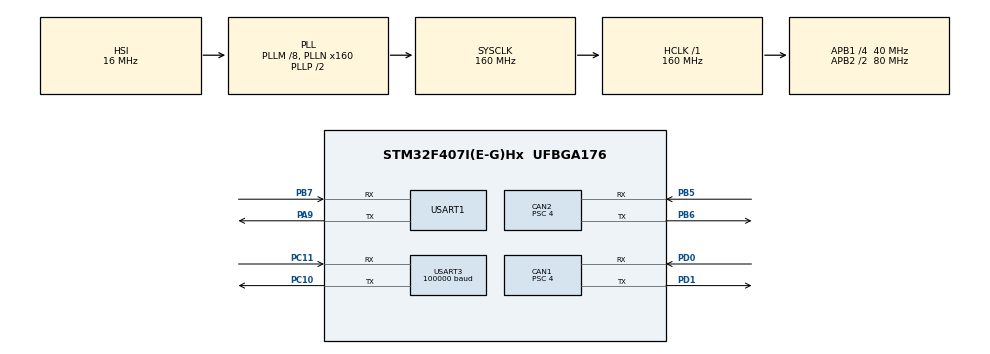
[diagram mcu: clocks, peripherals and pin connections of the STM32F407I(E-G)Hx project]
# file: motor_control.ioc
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CAN1.BS1=CAN_BS1_6TQ
CAN1.BS2=CAN_BS2_3TQ
CAN1.CalculateBaudRate=1000000
CAN1.CalculateTimeBit=1000
CAN1.CalculateTimeQuantum=100.0
CAN1.Prescaler=4
CAN2.BS1=CAN_BS1_6TQ
CAN2.BS2=CAN_BS2_3TQ
CAN2.CalculateBaudRate=1000000
CAN2.CalculateTimeBit=1000
CAN2.CalculateTimeQuantum=100.0
CAN2.Prescaler=4
Dma.Request0=USART1_TX
Dma.Request1=USART3_RX
Dma.USART1_TX.0.Direction=DMA_MEMORY_TO_PERIPH
Dma.USART1_TX.0.FIFOMode=DMA_FIFOMODE_DISABLE
Dma.USART1_TX.0.Instance=DMA2_Stream7
Dma.USART1_TX.0.MemDataAlignment=DMA_MDATAALIGN_BYTE
Dma.USART1_TX.0.MemInc=DMA_MINC_ENABLE
Dma.USART1_TX.0.Mode=DMA_NORMAL
Dma.USART1_TX.0.PeriphDataAlignment=DMA_PDATAALIGN_BYTE
Dma.USART1_TX.0.PeriphInc=DMA_PINC_DISABLE
Dma.USART1_TX.0.Priority=DMA_PRIORITY_VERY_HIGH
Dma.USART3_RX.1.Direction=DMA_PERIPH_TO_MEMORY
Dma.USART3_RX.1.FIFOMode=DMA_FIFOMODE_DISABLE
Dma.USART3_RX.1.Instance=DMA1_Stream1
Dma.USART3_RX.1.MemDataAlignment=DMA_MDATAALIGN_BYTE
Dma.USART3_RX.1.MemInc=DMA_MINC_ENABLE
Dma.USART3_RX.1.Mode=DMA_CIRCULAR
Dma.USART3_RX.1.PeriphDataAlignment=DMA_PDATAALIGN_BYTE
Dma.USART3_RX.1.PeriphInc=DMA_PINC_DISABLE
Dma.USART3_RX.1.Priority=DMA_PRIORITY_VERY_HIGH
FREERTOS.INCLUDE_vTaskDelayUntil=1
FREERTOS.Tasks01=defaultTask,0,128,StartDefaultTask,Default,NULL,Dynamic,NULL,NULL
Mcu.Family=STM32F4
Mcu.Name=STM32F407I(E-G)Hx
Mcu.Package=UFBGA176
NVIC.CAN1_RX0_IRQn=true\:5\:0\:false\:false\:true\:true\:true\:true\:true
NVIC.CAN1_RX1_IRQn=true\:5\:0\:false\:false\:true\:true\:true\:true\:true
NVIC.CAN2_RX0_IRQn=true\:5\:0\:false\:false\:true\:true\:true\:true\:true
NVIC.CAN2_RX1_IRQn=true\:5\:0\:false\:false\:true\:true\:true\:true\:true
NVIC.DMA1_Stream1_IRQn=true\:5\:0\:false\:false\:true\:true\:true\:true\:true
NVIC.DMA2_Stream7_IRQn=true\:5\:0\:false\:false\:true\:true\:true\:true\:true
NVIC.PriorityGroup=NVIC_PRIORITYGROUP_4
NVIC.TIM2_IRQn=true\:15\:0\:false\:false\:true\:false\:false\:true\:true
NVIC.TimeBase=TIM2_IRQn
NVIC.TimeBaseIP=TIM2
NVIC.USART1_IRQn=true\:5\:0\:false\:false\:true\:true\:true\:true\:true
NVIC.USART3_IRQn=true\:5\:0\:false\:false\:true\:true\:true\:true\:true
PA9.Mode=Asynchronous
PA9.Signal=USART1_TX
PB5.Mode=CAN_Activate
PB5.Signal=CAN2_RX
PB6.Mode=CAN_Activate
PB6.Signal=CAN2_TX
PB7.Mode=Asynchronous
PB7.Signal=USART1_RX
PC10.Mode=Asynchronous
PC10.Signal=USART3_TX
PC11.Mode=Asynchronous
PC11.Signal=USART3_RX
PD0.Mode=CAN_Activate
PD0.Signal=CAN1_RX
PD1.Mode=CAN_Activate
PD1.Signal=CAN1_TX
ProjectManager.HeapSize=0x200
ProjectManager.StackSize=0x400
ProjectManager.TargetToolchain=MDK-ARM V5.32
RCC.48MHZClocksFreq_Value=80000000
RCC.AHBFreq_Value=160000000
RCC.APB1CLKDivider=RCC_HCLK_DIV4
RCC.APB1Freq_Value=40000000
RCC.APB1TimFreq_Value=80000000
RCC.APB2CLKDivider=RCC_HCLK_DIV2
RCC.APB2Freq_Value=80000000
RCC.APB2TimFreq_Value=160000000
RCC.CortexFreq_Value=160000000
RCC.HCLKFreq_Value=160000000
RCC.HSE_VALUE=25000000
RCC.HSI_VALUE=16000000
RCC.LSE_VALUE=32768
RCC.PLLM=8
RCC.PLLN=160
RCC.SYSCLKFreq_VALUE=160000000
RCC.SYSCLKSource=RCC_SYSCLKSOURCE_PLLCLK
RCC.VCOOutputFreq_Value=320000000
USART1.VirtualMode=VM_ASYNC
USART3.BaudRate=100000
USART3.Parity=PARITY_EVEN
USART3.VirtualMode=VM_ASYNC
VP_FREERTOS_VS_CMSIS_V1.Mode=CMSIS_V1
VP_SYS_VS_tim2.Mode=TIM2
board=custom

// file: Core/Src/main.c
/* USER CODE BEGIN Header */
/**
  ******************************************************************************
  * @file           : main.c
  * @brief          : Main program body
  ******************************************************************************
  * @attention
  *
  * Copyright (c) 2024 STMicroelectronics.
  * All rights reserved.
  *
  * This software is licensed under terms that can be found in the LICENSE file
  * in the root directory of this software component.
  * If no LICENSE file comes with this software, it is provided AS-IS.
  *
  ******************************************************************************
  */
/* USER CODE END Header */
#include "main.h"
#include "cmsis_os.h"
#include "can.h"
#include "dma.h"
#include "usart.h"
#include "gpio.h"

/* USER CODE BEGIN Includes */
#include "bsp_can.h"
#include "bsp_usart.h"
#include "bsp_pid.h"
#include "bsp_motor.h"
#include "bsp_usart.h"
#include <stdio.h>
#include <stdarg.h>
#include "string.h"
#include "remote_control.h"
#include "task_init.h"
#include "shoot.h"
#include "chassis_m.h"
#include "tripod_head.h"
/* USER CODE END Includes */

/* USER CODE BEGIN PTD */
const RC_ctrl_t *local_rc_ctrl;
/* USER CODE END PTD */

void SystemClock_Config(void);
void MX_FREERTOS_Init(void);

int main(void)
{

  /* MCU Configuration--------------------------------------------------------*/

  /* Reset of all peripherals, Initializes the Flash interface and the Systick. */
  HAL_Init();

  /* Configure the system clock */
  SystemClock_Config();

  /* Initialize all configured peripherals */
  MX_GPIO_Init();
  MX_DMA_Init();
  MX_CAN1_Init();
  MX_CAN2_Init();
  MX_USART1_UART_Init();
  MX_USART3_UART_Init();
  /* USER CODE BEGIN 2 */
	//�弶֧�ְ�����
task_start_init();
  /* USER CODE END 2 */

  /* Call init function for freertos objects (in cmsis_os2.c) */
  MX_FREERTOS_Init();

  /* Start scheduler */
  osKernelStart();

  /* We should never get here as control is now taken by the scheduler */

  /* Infinite loop */
  while (1)
  {

    /* USER CODE BEGIN 3 */
	//	shoot_task(&shoot_control);
		//tripod_task(&tripod_head_control);
  }
  /* USER CODE END 3 */
}

void SystemClock_Config(void)
{
  RCC_OscInitTypeDef RCC_OscInitStruct = {0};
  RCC_ClkInitTypeDef RCC_ClkInitStruct = {0};

  /** Configure the main internal regulator output voltage
  */
  __HAL_RCC_PWR_CLK_ENABLE();
  __HAL_PWR_VOLTAGESCALING_CONFIG(PWR_REGULATOR_VOLTAGE_SCALE1);

  /** Initializes the RCC Oscillators according to the specified parameters
  * in the RCC_OscInitTypeDef structure.
  */
  RCC_OscInitStruct.OscillatorType = RCC_OSCILLATORTYPE_HSI;
  RCC_OscInitStruct.HSIState = RCC_HSI_ON;
  RCC_OscInitStruct.HSICalibrationValue = RCC_HSICALIBRATION_DEFAULT;
  RCC_OscInitStruct.PLL.PLLState = RCC_PLL_ON;
  RCC_OscInitStruct.PLL.PLLSource = RCC_PLLSOURCE_HSI;
  RCC_OscInitStruct.PLL.PLLM = 8;
  RCC_OscInitStruct.PLL.PLLN = 160;
  RCC_OscInitStruct.PLL.PLLP = RCC_PLLP_DIV2;
  RCC_OscInitStruct.PLL.PLLQ = 4;
  if (HAL_RCC_OscConfig(&RCC_OscInitStruct) != HAL_OK)
  {
    Error_Handler();
  }

  /** Initializes the CPU, AHB and APB buses clocks
  */
  RCC_ClkInitStruct.ClockType = RCC_CLOCKTYPE_HCLK|RCC_CLOCKTYPE_SYSCLK
                              |RCC_CLOCKTYPE_PCLK1|RCC_CLOCKTYPE_PCLK2;
  RCC_ClkInitStruct.SYSCLKSource = RCC_SYSCLKSOURCE_PLLCLK;
  RCC_ClkInitStruct.AHBCLKDivider = RCC_SYSCLK_DIV1;
  RCC_ClkInitStruct.APB1CLKDivider = RCC_HCLK_DIV4;
  RCC_ClkInitStruct.APB2CLKDivider = RCC_HCLK_DIV2;

  if (HAL_RCC_ClockConfig(&RCC_ClkInitStruct, FLASH_LATENCY_5) != HAL_OK)
  {
    Error_Handler();
  }
}

void HAL_TIM_PeriodElapsedCallback(TIM_HandleTypeDef *htim)
{
  if (htim->Instance == TIM2) {
    HAL_IncTick();
  }
}

void Error_Handler(void)
{
  __disable_irq();
  while (1)
  {
  }
}

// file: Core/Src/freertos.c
/* USER CODE BEGIN Header */
/**
  ******************************************************************************
  * File Name          : freertos.c
  * Description        : Code for freertos applications
  ******************************************************************************
  * @attention
  *
  * Copyright (c) 2024 STMicroelectronics.
  * All rights reserved.
  *
  * This software is licensed under terms that can be found in the LICENSE file
  * in the root directory of this software component.
  * If no LICENSE file comes with this software, it is provided AS-IS.
  *
  ******************************************************************************
  */
/* USER CODE END Header */

#include "FreeRTOS.h"
#include "task.h"
#include "main.h"
#include "cmsis_os.h"

/* USER CODE BEGIN Includes */
#include "shoot.h"
#include "tripod_head.h"
#include "task_init.h"
#include "chassis_m.h"
#include "bsp_motor.h"
#include "bsp_can.h"
/* USER CODE END Includes */

/* USER CODE BEGIN PM */
osThreadId startTaskHandle;
osThreadId tripod_headTaskHandle;
osThreadId chassisTaskHandle;
osThreadId shootTaskHandle;
/* USER CODE END PM */

osThreadId defaultTaskHandle;

/* USER CODE BEGIN FunctionPrototypes */

/*void can_send_control(void const*argument)
{
	while(1)
	{
	CAN_Send_Data(&hcan1,0x1ff,CAN1_0x1ff_Tx_Data,8);
			osDelay(3);
	}

}*/
void shoot_task_control(void const*argument)
{

	while(1)
	{shoot_task(&shoot_control);
		osDelay(2);
	}
}

void tripod_task_control(void const*argument)
{

	while(1)
	{tripod_task(&tripod_head_control);
osDelay(2);
	}
}

void chassis_task_control(void const*argument)
{
	while(1)
	{chassism_task(&chassism_control);
	osDelay(2);
	}
}

void Start_Task(void const*argument)
{
		taskENTER_CRITICAL();

	osThreadDef(shootTask,shoot_task_control, osPriorityNormal, 0, 128);
  shootTaskHandle = osThreadCreate(osThread(shootTask), NULL);

	 osThreadDef(tripod_headTask,tripod_task_control, osPriorityNormal, 0, 128);
  tripod_headTaskHandle = osThreadCreate(osThread(tripod_headTask), NULL);

	osThreadDef(chassisTask,chassis_task_control, osPriorityNormal, 0, 128);
  chassisTaskHandle  = osThreadCreate(osThread(chassisTask), NULL);

//osThreadDef(cansendTask,can_send_control, osPriorityNormal, 0, 128);
  //can_sendTaskHandle  = osThreadCreate(osThread(cansendTask), NULL);

	osThreadTerminate(startTaskHandle);
	taskEXIT_CRITICAL();

}
/* USER CODE END FunctionPrototypes */

void StartDefaultTask(void const * argument);

void MX_FREERTOS_Init(void); /* (MISRA C 2004 rule 8.1) */

/* GetIdleTaskMemory prototype (linked to static allocation support) */
void vApplicationGetIdleTaskMemory( StaticTask_t **ppxIdleTaskTCBBuffer, StackType_t **ppxIdleTaskStackBuffer, uint32_t *pulIdleTaskStackSize );

/* USER CODE BEGIN GET_IDLE_TASK_MEMORY */
static StaticTask_t xIdleTaskTCBBuffer;
static StackType_t xIdleStack[configMINIMAL_STACK_SIZE];

void vApplicationGetIdleTaskMemory( StaticTask_t **ppxIdleTaskTCBBuffer, StackType_t **ppxIdleTaskStackBuffer, uint32_t *pulIdleTaskStackSize )
{
  *ppxIdleTaskTCBBuffer = &xIdleTaskTCBBuffer;
  *ppxIdleTaskStackBuffer = &xIdleStack[0];
  *pulIdleTaskStackSize = configMINIMAL_STACK_SIZE;
  /* place for user code */
}
/* USER CODE END GET_IDLE_TASK_MEMORY */

void MX_FREERTOS_Init(void) {

  /* Create the thread(s) */
  /* definition and creation of defaultTask */
  osThreadDef(defaultTask, StartDefaultTask, osPriorityNormal, 0, 128);
  defaultTaskHandle = osThreadCreate(osThread(defaultTask), NULL);

  /* USER CODE BEGIN RTOS_THREADS */
   osThreadDef(startTask, Start_Task, osPriorityNormal, 0, 128);
  startTaskHandle = osThreadCreate(osThread(startTask), NULL);
  /* USER CODE END RTOS_THREADS */

}

void StartDefaultTask(void const * argument)
{
  for(;;)
  {
    osDelay(1);
  }
}
